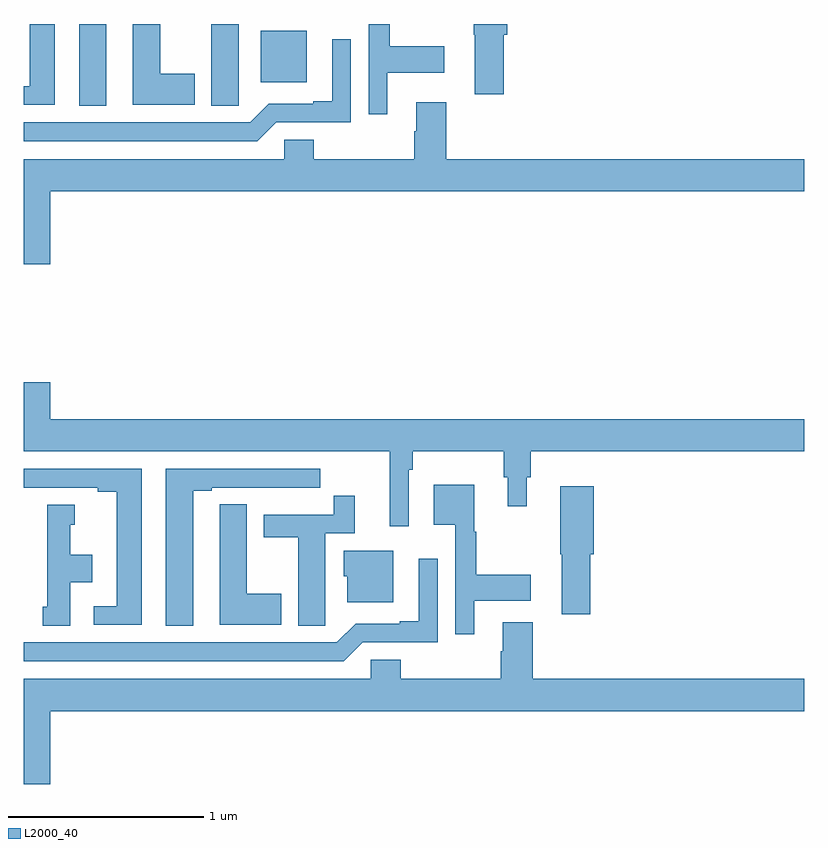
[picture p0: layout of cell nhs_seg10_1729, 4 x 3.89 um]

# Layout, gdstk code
import gdstk
lib = gdstk.Library(unit=1e-6, precision=1e-09)
def R(c, l, rs):  # rectangles x0, y0, x1, y1
    for r in rs: c.add(gdstk.rectangle(r[:2], r[2:], *l))
def P(c, l, *ps):  # polygons
    for p in ps: c.add(gdstk.Polygon(p, *l))
L2000_40 = (2000, 40)

nhs_seg10_1729 = lib.new_cell('nhs_seg10_1729')
R(nhs_seg10_1729, L2000_40, [(201.284,1306.081,201.424,1306.5), (202.214,1306.202,202.45,1306.465)])
P(nhs_seg10_1729, L2000_40, [(203.459,1306.446),(203.477,1306.446),(203.477,1306.5),(203.306,1306.5),(203.306,1306.446),(203.312,1306.446),(203.312,1306.14),(203.459,1306.14)],
  [(201.16,1306.5),(201.032,1306.5),(201.032,1306.182),(201,1306.182),(201,1306.086),(201.16,1306.086)],
  [(202.101,1306.192),(202.102,1306.192),(202.102,1306.5),(201.962,1306.5),(201.962,1306.081),(202.101,1306.081)],
  [(202.864,1306.25),(203.155,1306.25),(203.155,1306.385),(202.876,1306.385),(202.876,1306.5),(202.767,1306.5),(202.767,1306.038),(202.864,1306.038)],
  [(201.877,1306.245),(201.7,1306.245),(201.7,1306.5),(201.56,1306.5),(201.56,1306.085),(201.877,1306.085)],
  [(202.293,1305.996),(202.677,1305.996),(202.677,1306.423),(202.58,1306.423),(202.58,1306.105),(202.484,1306.105),(202.484,1306.092),(202.257,1306.092),(202.161,1305.996),(201,1305.996),(201,1305.9),(202.197,1305.9)],
  [(201.136,1305.644),(205,1305.644),(205,1305.808),(203.165,1305.808),(203.165,1306.099),(203.012,1306.099),(203.012,1305.95),(203,1305.95),(203,1305.808),(202.487,1305.808),(202.487,1305.906),(202.335,1305.906),(202.335,1305.808),(201,1305.808),(201,1305.27),(201.136,1305.27)],
  [(201.136,1304.665),(201,1304.665),(201,1304.312),(202.877,1304.312),(202.877,1303.926),(202.974,1303.926),(202.974,1304.216),(202.994,1304.216),(202.994,1304.312),(203.461,1304.312),(203.461,1304.178),(203.48,1304.178),(203.48,1304.028),(203.578,1304.028),(203.578,1304.178),(203.597,1304.178),(203.597,1304.312),(205,1304.312),(205,1304.476),(201.136,1304.476)],
  [(201.868,1304.109),(201.964,1304.109),(201.964,1304.124),(202.24,1304.124),(202.24,1304.123),(202.406,1304.123),(202.406,1304.124),(202.519,1304.124),(202.519,1304.22),(201.728,1304.22),(201.728,1303.417),(201.868,1303.417)],
  [(201.604,1304.22),(201,1304.22),(201,1304.124),(201.38,1304.124),(201.38,1304.104),(201.476,1304.104),(201.476,1303.518),(201.36,1303.518),(201.36,1303.422),(201.604,1303.422)],
  [(203.308,1303.544),(203.599,1303.544),(203.599,1303.679),(203.32,1303.679),(203.32,1303.899),(203.308,1303.899),(203.308,1304.14),(203.102,1304.14),(203.102,1303.934),(203.211,1303.934),(203.211,1303.374),(203.308,1303.374)],
  [(203.903,1303.782),(203.921,1303.782),(203.921,1304.131),(203.75,1304.131),(203.75,1303.782),(203.756,1303.782),(203.756,1303.476),(203.903,1303.476)],
  [(202.545,1303.528),(202.546,1303.528),(202.546,1303.89),(202.697,1303.89),(202.697,1304.083),(202.588,1304.083),(202.588,1303.986),(202.229,1303.986),(202.229,1303.87),(202.406,1303.87),(202.406,1303.417),(202.545,1303.417)],
  [(202.321,1303.581),(202.144,1303.581),(202.144,1304.039),(202.005,1304.039),(202.005,1303.931),(202.004,1303.931),(202.004,1303.421),(202.321,1303.421)],
  [(201.238,1303.64),(201.352,1303.64),(201.352,1303.78),(201.238,1303.78),(201.238,1303.935),(201.262,1303.935),(201.262,1304.038),(201.122,1304.038),(201.122,1303.515),(201.098,1303.515),(201.098,1303.417),(201.238,1303.417)],
  [(202.894,1303.801),(202.64,1303.801),(202.64,1303.671),(202.658,1303.671),(202.658,1303.538),(202.894,1303.538)],
  [(202.737,1303.332),(203.121,1303.332),(203.121,1303.759),(203.024,1303.759),(203.024,1303.441),(202.928,1303.441),(202.928,1303.428),(202.701,1303.428),(202.605,1303.332),(201,1303.332),(201,1303.236),(202.641,1303.236)],
  [(201.136,1302.98),(205,1302.98),(205,1303.144),(203.609,1303.144),(203.609,1303.435),(203.456,1303.435),(203.456,1303.286),(203.444,1303.286),(203.444,1303.144),(202.931,1303.144),(202.931,1303.242),(202.779,1303.242),(202.779,1303.144),(201,1303.144),(201,1302.606),(201.136,1302.606)])

lib.write_gds('nhs_seg10_1729.gds')
